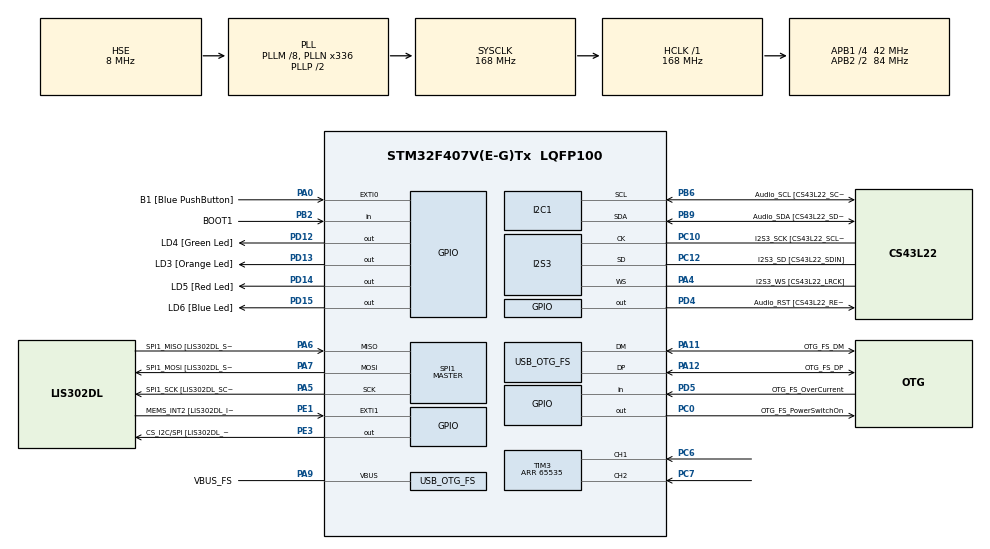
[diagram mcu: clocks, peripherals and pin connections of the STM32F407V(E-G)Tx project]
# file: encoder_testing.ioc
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I2S3.ErrorAudioFreq=0.0 %
I2S3.FullDuplexMode=I2S_FULLDUPLEXMODE_DISABLE
I2S3.Instance=SPI$Index
I2S3.RealAudioFreq=8.0 KHz
I2S3.VirtualMode=I2S_MODE_MASTER
Mcu.Family=STM32F4
Mcu.Name=STM32F407V(E-G)Tx
Mcu.Package=LQFP100
NVIC.OTG_FS_IRQn=true\:0\:0\:false\:false\:true\:true\:true
NVIC.PriorityGroup=NVIC_PRIORITYGROUP_0
PA0-WKUP.GPIO_Label=B1 [Blue PushButton]
PA0-WKUP.GPIO_ModeDefaultEXTI=GPIO_MODE_EVT_RISING
PA0-WKUP.GPIO_PuPd=GPIO_NOPULL
PA0-WKUP.Signal=GPXTI0
PA10.GPIO_Label=OTG_FS_ID
PA10.GPIO_Mode=GPIO_MODE_AF_PP
PA10.GPIO_PuPd=GPIO_NOPULL
PA10.GPIO_Speed=GPIO_SPEED_FREQ_LOW
PA10.Signal=USB_OTG_FS_ID
PA11.GPIO_Label=OTG_FS_DM
PA11.GPIO_Mode=GPIO_MODE_AF_PP
PA11.GPIO_PuPd=GPIO_NOPULL
PA11.GPIO_Speed=GPIO_SPEED_FREQ_LOW
PA11.Mode=Host_Only
PA11.Signal=USB_OTG_FS_DM
PA12.GPIO_Label=OTG_FS_DP
PA12.GPIO_Mode=GPIO_MODE_AF_PP
PA12.GPIO_PuPd=GPIO_NOPULL
PA12.GPIO_Speed=GPIO_SPEED_FREQ_LOW
PA12.Mode=Host_Only
PA12.Signal=USB_OTG_FS_DP
PA13.GPIO_Label=SWDIO
PA13.Mode=Serial_Wire
PA13.Signal=SYS_JTMS-SWDIO
PA14.GPIO_Label=SWCLK
PA14.Mode=Serial_Wire
PA14.Signal=SYS_JTCK-SWCLK
PA4.GPIO_Label=I2S3_WS [CS43L22_LRCK]
PA4.GPIO_Mode=GPIO_MODE_AF_PP
PA4.GPIO_PuPd=GPIO_NOPULL
PA4.GPIO_Speed=GPIO_SPEED_FREQ_LOW
PA4.Mode=Half_Duplex_Master
PA4.Signal=I2S3_WS
PA5.GPIO_Label=SPI1_SCK [LIS302DL_SCL/SPC]
PA5.GPIO_Mode=GPIO_MODE_AF_PP
PA5.GPIO_PuPd=GPIO_NOPULL
PA5.GPIO_Speed=GPIO_SPEED_FREQ_LOW
PA5.Mode=Full_Duplex_Master
PA5.Signal=SPI1_SCK
PA6.GPIO_Label=SPI1_MISO [LIS302DL_SDO]
PA6.GPIO_Mode=GPIO_MODE_AF_PP
PA6.GPIO_PuPd=GPIO_NOPULL
PA6.GPIO_Speed=GPIO_SPEED_FREQ_LOW
PA6.Mode=Full_Duplex_Master
PA6.Signal=SPI1_MISO
PA7.GPIO_Label=SPI1_MOSI [LIS302DL_SDA/SDI/SDO]
PA7.GPIO_Mode=GPIO_MODE_AF_PP
PA7.GPIO_PuPd=GPIO_NOPULL
PA7.GPIO_Speed=GPIO_SPEED_FREQ_LOW
PA7.Mode=Full_Duplex_Master
PA7.Signal=SPI1_MOSI
PA9.GPIO_Label=VBUS_FS
PA9.GPIO_Mode=GPIO_MODE_INPUT
PA9.GPIO_PuPd=GPIO_NOPULL
PA9.Mode=Activate_VBUS
PA9.Signal=USB_OTG_FS_VBUS
PB10.GPIO_Label=CLK_IN [MP45DT02_CLK]
PB10.GPIO_Mode=GPIO_MODE_AF_PP
PB10.GPIO_PuPd=GPIO_NOPULL
PB10.GPIO_Speed=GPIO_SPEED_FREQ_LOW
PB10.Signal=I2S2_CK
PB2.GPIO_Label=BOOT1
PB2.GPIO_Mode=GPIO_MODE_INPUT
PB2.GPIO_PuPd=GPIO_NOPULL
PB2.Signal=GPIO_Input
PB3.GPIO_Label=SWO
PB3.Signal=SYS_JTDO-SWO
PB6.GPIO_Label=Audio_SCL [CS43L22_SCL]
PB6.GPIO_Mode=GPIO_MODE_AF_OD
PB6.GPIO_PuPd=GPIO_NOPULL
PB6.GPIO_Speed=GPIO_SPEED_FREQ_LOW
PB6.Mode=I2C
PB6.Signal=I2C1_SCL
PB9.GPIO_Label=Audio_SDA [CS43L22_SDA]
PB9.GPIO_Mode=GPIO_MODE_AF_OD
PB9.GPIO_PuPd=GPIO_NOPULL
PB9.GPIO_Speed=GPIO_SPEED_FREQ_LOW
PB9.Mode=I2C
PB9.Signal=I2C1_SDA
PC0.GPIO_Label=OTG_FS_PowerSwitchOn
PC0.GPIO_PuPd=GPIO_NOPULL
PC0.GPIO_Speed=GPIO_SPEED_FREQ_LOW
PC0.PinState=GPIO_PIN_SET
PC0.Signal=GPIO_Output
PC10.GPIO_Label=I2S3_SCK [CS43L22_SCLK]
PC10.GPIO_Mode=GPIO_MODE_AF_PP
PC10.GPIO_PuPd=GPIO_NOPULL
PC10.GPIO_Speed=GPIO_SPEED_FREQ_LOW
PC10.Mode=Half_Duplex_Master
PC10.Signal=I2S3_CK
PC12.GPIO_Label=I2S3_SD [CS43L22_SDIN]
PC12.GPIO_Mode=GPIO_MODE_AF_PP
PC12.GPIO_PuPd=GPIO_NOPULL
PC12.GPIO_Speed=GPIO_SPEED_FREQ_LOW
PC12.Mode=Half_Duplex_Master
PC12.Signal=I2S3_SD
PC14-OSC32_IN.GPIO_Label=PC14-OSC32_IN
PC14-OSC32_IN.Mode=LSE-External-Oscillator
PC14-OSC32_IN.Signal=RCC_OSC32_IN
PC15-OSC32_OUT.GPIO_Label=PC15-OSC32_OUT
PC15-OSC32_OUT.Mode=LSE-External-Oscillator
PC15-OSC32_OUT.Signal=RCC_OSC32_OUT
PC3.GPIO_Label=PDM_OUT [MP45DT02_DOUT]
PC3.GPIO_Mode=GPIO_MODE_AF_PP
PC3.GPIO_PuPd=GPIO_NOPULL
PC3.GPIO_Speed=GPIO_SPEED_FREQ_LOW
PC3.Signal=I2S2_SD
PC6.Signal=S_TIM3_CH1
PC7.Signal=S_TIM3_CH2
PD12.GPIO_Label=LD4 [Green Led]
PD12.GPIO_PuPd=GPIO_NOPULL
PD12.GPIO_Speed=GPIO_SPEED_FREQ_LOW
PD12.Signal=GPIO_Output
PD13.GPIO_Label=LD3 [Orange Led]
PD13.GPIO_PuPd=GPIO_NOPULL
PD13.GPIO_Speed=GPIO_SPEED_FREQ_LOW
PD13.Signal=GPIO_Output
PD14.GPIO_Label=LD5 [Red Led]
PD14.GPIO_PuPd=GPIO_NOPULL
PD14.GPIO_Speed=GPIO_SPEED_FREQ_LOW
PD14.Signal=GPIO_Output
PD15.GPIO_Label=LD6 [Blue Led]
PD15.GPIO_PuPd=GPIO_NOPULL
PD15.GPIO_Speed=GPIO_SPEED_FREQ_LOW
PD15.Signal=GPIO_Output
PD4.GPIO_Label=Audio_RST [CS43L22_RESET]
PD4.GPIO_PuPd=GPIO_NOPULL
PD4.GPIO_Speed=GPIO_SPEED_FREQ_LOW
PD4.Signal=GPIO_Output
PD5.GPIO_Label=OTG_FS_OverCurrent
PD5.GPIO_Mode=GPIO_MODE_INPUT
PD5.GPIO_PuPd=GPIO_NOPULL
PD5.Signal=GPIO_Input
PE1.GPIO_Label=MEMS_INT2 [LIS302DL_INT2]
PE1.GPIO_ModeDefaultEXTI=GPIO_MODE_EVT_RISING
PE1.GPIO_PuPd=GPIO_NOPULL
PE1.Signal=GPXTI1
PE3.GPIO_Label=CS_I2C/SPI [LIS302DL_CS_I2C/SPI]
PE3.GPIO_PuPd=GPIO_NOPULL
PE3.GPIO_Speed=GPIO_SPEED_FREQ_LOW
PE3.Signal=GPIO_Output
PH0-OSC_IN.GPIO_Label=PH0-OSC_IN
PH0-OSC_IN.Mode=HSE-External-Oscillator
PH0-OSC_IN.Signal=RCC_OSC_IN
PH1-OSC_OUT.GPIO_Label=PH1-OSC_OUT
PH1-OSC_OUT.Mode=HSE-External-Oscillator
PH1-OSC_OUT.Signal=RCC_OSC_OUT
ProjectManager.HeapSize=0x200
ProjectManager.StackSize=0x400
ProjectManager.TargetToolchain=TrueSTUDIO
RCC.48MHZClocksFreq_Value=48000000
RCC.AHBFreq_Value=168000000
RCC.APB1CLKDivider=RCC_HCLK_DIV4
RCC.APB1Freq_Value=42000000
RCC.APB1TimFreq_Value=84000000
RCC.APB2CLKDivider=RCC_HCLK_DIV2
RCC.APB2Freq_Value=84000000
RCC.APB2TimFreq_Value=168000000
RCC.CortexFreq_Value=168000000
RCC.HCLKFreq_Value=168000000
RCC.HSE_VALUE=8000000
RCC.HSI_VALUE=16000000
RCC.PLLM=8
RCC.PLLN=336
RCC.PLLQ=7
RCC.SYSCLKFreq_VALUE=168000000
RCC.SYSCLKSource=RCC_SYSCLKSOURCE_PLLCLK
RCC.VCOOutputFreq_Value=336000000
SH.S_TIM3_CH1.0=TIM3_CH1,Encoder_Interface
SH.S_TIM3_CH2.0=TIM3_CH2,Encoder_Interface
SPI1.BaudRatePrescaler-Full_Duplex_Master=SPI_BAUDRATEPRESCALER_2
SPI1.CalculateBaudRate-Full_Duplex_Master=42.0 MBits/s
SPI1.Direction=SPI_DIRECTION_2LINES
SPI1.Mode=SPI_MODE_MASTER
SPI1.Mode-Full_Duplex_Master=SPI_MODE_MASTER
SPI1.VirtualType=VM_MASTER
TIM3.EncoderMode=TIM_ENCODERMODE_TI12
TIM3.Period=65535
USB_HOST.BSP.number=1
USB_HOST.USBH_HandleTypeDef-CDC_FS=hUsbHostFS
USB_HOST.VirtualModeFS=Cdc
USB_HOST0.BSP.STBoard=false
USB_HOST0.BSP.api=Unknown
USB_HOST0.BSP.i2caddr=0
USB_HOST0.BSP.i2creg=0
USB_HOST0.BSP.instance=PC0
USB_HOST0.BSP.ip=GPIO
USB_HOST0.BSP.mode=Output
USB_HOST0.BSP.name=Drive_VBUS_FS
USB_HOST0.BSP.solution=PC0
USB_OTG_FS.VirtualMode=Host_Only
USB_OTG_FS.phy_itface=HCD_PHY_EMBEDDED
VP_USB_HOST_VS_USB_HOST_CDC_FS.Mode=CDC_FS
board=STM32F407G-DISC1

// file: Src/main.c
/* USER CODE BEGIN Header */
/**
  ******************************************************************************
  * @file           : main.c
  * @brief          : Main program body
  ******************************************************************************
  * @attention
  *
  * <h2><center>&copy; Copyright (c) 2020 STMicroelectronics.
  * All rights reserved.</center></h2>
  *
  * This software component is licensed by ST under Ultimate Liberty license
  * SLA0044, the "License"; You may not use this file except in compliance with
  * the License. You may obtain a copy of the License at:
  *                             www.st.com/SLA0044
  *
  ******************************************************************************
  */
/* USER CODE END Header */

#include "main.h"
#include "i2c.h"
#include "i2s.h"
#include "spi.h"
#include "tim.h"
#include "usb_host.h"
#include "gpio.h"
#include "stm32f4xx_hal.h"
#include "stdio.h"

void SystemClock_Config(void);
void MX_USB_HOST_Process(void);

/* USER CODE BEGIN 0 */
#define ONE_ROTATION_PULSES 20
uint16_t cnt1, cnt2, diff, speed, dir;
uint32_t tick;

/* USER CODE END 0 */

int main(void)
{

  /* MCU Configuration--------------------------------------------------------*/

  /* Reset of all peripherals, Initializes the Flash interface and the Systick. */
  HAL_Init();

  /* Configure the system clock */
  SystemClock_Config();

  /* Initialize all configured peripherals */
  MX_GPIO_Init();
  MX_I2C1_Init();
  MX_I2S3_Init();
  MX_SPI1_Init();
  MX_TIM3_Init();
  MX_USB_HOST_Init();
  /* USER CODE BEGIN 2 */
  HAL_TIM_Encoder_Start(&htim3, TIM_CHANNEL_ALL);
  cnt1 = TIM3->CNT;
  tick = HAL_GetTick();

  /* USER CODE END 2 */

  /* Infinite loop */
  while (1)
  {
    MX_USB_HOST_Process();

    /* USER CODE BEGIN 3 */
    if(HAL_GetTick() - tick > 1000L)
       {
         /* 1초마다 TIM3 카운터 증가 확인 */
         cnt2 = TIM3->CNT;

         /* 회전 방향 확인 */
         if(__HAL_TIM_IS_TIM_COUNTING_DOWN(&htim3))
         {
           dir = 1;

           /* __HAL_TIM_IS_TIM_COUNTING_DOWN 매크로가 방향성을 잘못 알려주는 경우 예외처리 */
           if((cnt2 > cnt1) && (cnt2 - cnt1 < 100)) dir = 0;
         }
         else
         {
           dir = 0;

           /* __HAL_TIM_IS_TIM_COUNTING_DOWN 매크로가 방향성을 잘못 알려주는 경우 예외처리 */
           if((cnt1 > cnt2) && (cnt1 - cnt2 < 100)) dir = 1;
         }

         if(dir)
         {
           /* Down Counting 방향으로 회전할 때 */
           if(cnt1 >= cnt2) diff = cnt1 - cnt2;
           else diff = (TIM3->ARR + cnt1) - cnt2 ;
         }
         else
         {
           /* Up Counting 방향으로 회전할 때 */
           if(cnt2 >= cnt1) diff = cnt2 - cnt1;
           else diff = (TIM3->ARR + cnt2) - cnt1 ;
         }

         if((TIM3->SMCR & 0x03) == 0x03)
         {
           /* X4 Mode 일때는 카운터가 4 증가할 때, 1개의 Pulse */
           speed = diff * 60 / 4 / ONE_ROTATION_PULSES; //RPM 계산을 위해서는 x 60
         }
         else
         {
           /* X4 Mode 일때는 카운터가 2 증가할 때, 1개의 Pulse */
           speed = diff * 60 / 2 / ONE_ROTATION_PULSES; //RPM 계산을 위해서는 x 60
         }

         tick = HAL_GetTick();
         cnt1 = TIM3->CNT;
//         printf(" encoder testing\r\n ");
         printf(" dir:  ");
         printf("%d\n ", dir);
         printf("\r\n");
         printf(" diff:  ");
         printf("%d\n ", diff);
         printf("\r\n");
         printf(" speed:  ");
         printf("%d\n ", speed);
         printf("\r\n");
//           printf(cnt1);
       }
     }

  /* USER CODE END 3 */
}

void SystemClock_Config(void)
{
  RCC_OscInitTypeDef RCC_OscInitStruct = {0};
  RCC_ClkInitTypeDef RCC_ClkInitStruct = {0};
  RCC_PeriphCLKInitTypeDef PeriphClkInitStruct = {0};

  /** Configure the main internal regulator output voltage
  */
  __HAL_RCC_PWR_CLK_ENABLE();
  __HAL_PWR_VOLTAGESCALING_CONFIG(PWR_REGULATOR_VOLTAGE_SCALE1);
  /** Initializes the CPU, AHB and APB busses clocks
  */
  RCC_OscInitStruct.OscillatorType = RCC_OSCILLATORTYPE_HSE;
  RCC_OscInitStruct.HSEState = RCC_HSE_ON;
  RCC_OscInitStruct.PLL.PLLState = RCC_PLL_ON;
  RCC_OscInitStruct.PLL.PLLSource = RCC_PLLSOURCE_HSE;
  RCC_OscInitStruct.PLL.PLLM = 8;
  RCC_OscInitStruct.PLL.PLLN = 336;
  RCC_OscInitStruct.PLL.PLLP = RCC_PLLP_DIV2;
  RCC_OscInitStruct.PLL.PLLQ = 7;
  if (HAL_RCC_OscConfig(&RCC_OscInitStruct) != HAL_OK)
  {
    Error_Handler();
  }
  /** Initializes the CPU, AHB and APB busses clocks
  */
  RCC_ClkInitStruct.ClockType = RCC_CLOCKTYPE_HCLK|RCC_CLOCKTYPE_SYSCLK
                              |RCC_CLOCKTYPE_PCLK1|RCC_CLOCKTYPE_PCLK2;
  RCC_ClkInitStruct.SYSCLKSource = RCC_SYSCLKSOURCE_PLLCLK;
  RCC_ClkInitStruct.AHBCLKDivider = RCC_SYSCLK_DIV1;
  RCC_ClkInitStruct.APB1CLKDivider = RCC_HCLK_DIV4;
  RCC_ClkInitStruct.APB2CLKDivider = RCC_HCLK_DIV2;

  if (HAL_RCC_ClockConfig(&RCC_ClkInitStruct, FLASH_LATENCY_5) != HAL_OK)
  {
    Error_Handler();
  }
  PeriphClkInitStruct.PeriphClockSelection = RCC_PERIPHCLK_I2S;
  PeriphClkInitStruct.PLLI2S.PLLI2SN = 192;
  PeriphClkInitStruct.PLLI2S.PLLI2SR = 2;
  if (HAL_RCCEx_PeriphCLKConfig(&PeriphClkInitStruct) != HAL_OK)
  {
    Error_Handler();
  }
}

void Error_Handler(void)
{
}

/************************ (C) COPYRIGHT STMicroelectronics *****END OF FILE****/
